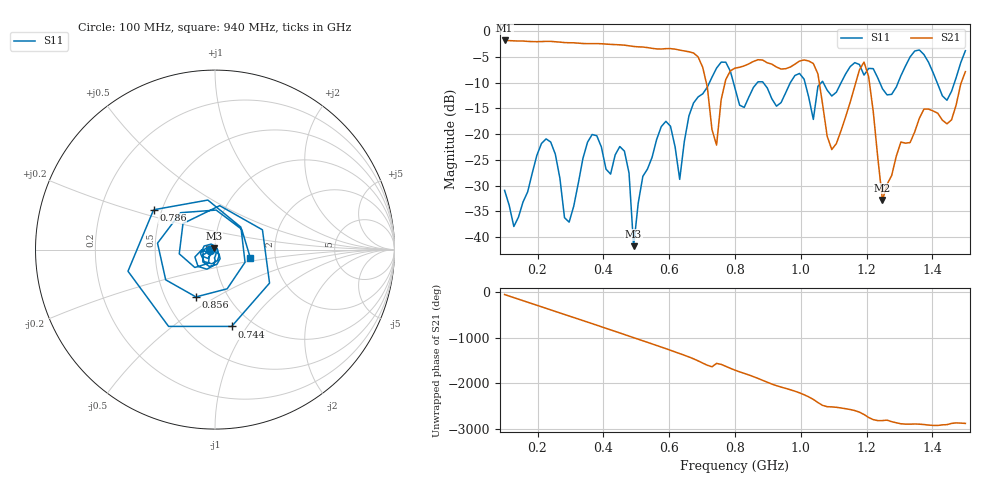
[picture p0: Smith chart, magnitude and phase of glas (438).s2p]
! NanoVNA-App
! Date: 2025-09-25 15:58:53
! Start: 100MHz Stop: 1,5GHz Points: 101
! S-Parameter data: F S11 S21 S12 S22
# Hz S RI R 50
!  Frequency  S11_Real  S11_Imag  S21_Real  S21_Imag  S12_Real  S12_Imag  S22_Real  S22_Imag
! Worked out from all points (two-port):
!   101 points, 100 MHz to 1.5 GHz, reference 50 ohm
!   highest |S21| = -1.80 dB at 100 MHz (marker M1); lowest = -32.8 dB at 1.248 GHz (marker M2)
!   |S21| within 3 dB of the highest: start of sweep to 684.3 MHz
!   lowest |S11| = -41.8 dB at 492 MHz (marker M3), VSWR 1.02, Z = 49.5 + j0.609 ohm
!   |S11| at or under -10 dB: start of sweep to 722.3 MHz; 795.4 MHz to 867.9 MHz (72.52 MHz wide, 8.72 % of centre); 885.9 MHz to 968.1 MHz (82.18 MHz wide, 8.86 % of centre) (the widest 3 of 7)
!   S12 and S22 are empty: the file has one direction only
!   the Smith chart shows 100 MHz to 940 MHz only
!   S11 on the Smith chart (normalised r, x): 100 MHz: 0.95, -0.01; 744 MHz: 0.80, -0.85; 786 MHz: 0.45, +0.24; 856 MHz: 0.71, -0.41; 940 MHz: 1.48, -0.14
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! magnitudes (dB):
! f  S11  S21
! 100 MHz  -30.9  -1.8
! 128 MHz  -38.0  -1.9
! 226 MHz  -20.9  -2.0
! 296 MHz  -37.1  -2.2
! 338 MHz  -24.7  -2.4
! 464 MHz  -23.3  -2.7
! 492 MHz  -41.8  -3.0
! 576 MHz  -18.5  -3.5
! 632 MHz  -28.8  -3.7
! 702 MHz  -12.2  -7.0
! 744 MHz  -7.2  -22.1
! 786 MHz  -7.8  -7.7
! 800 MHz  -11.1  -7.2
! 856 MHz  -10.9  -5.9
! 940 MHz  -13.9  -7.4
! 996 MHz  -8.2  -5.8
! 1.038 GHz  -17.1  -6.3
! 1.094 GHz  -12.6  -23.0
! 1.192 GHz  -8.5  -6.0
! 1.248 GHz  -11.2  -32.8
! 1.276 GHz  -12.3  -28.0
! 1.5 GHz  -3.8  -7.9
